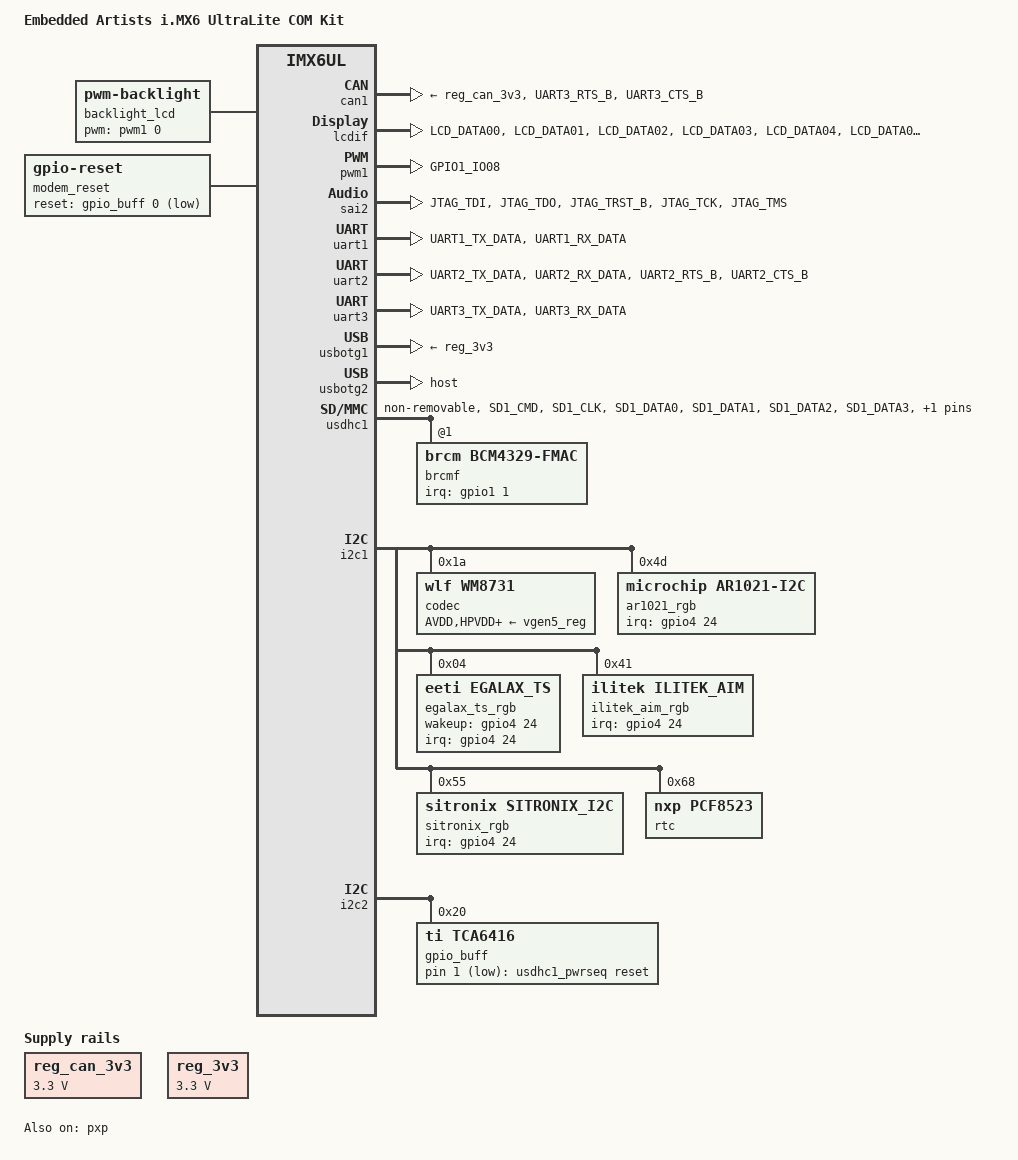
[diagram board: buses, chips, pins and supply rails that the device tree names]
/*
 * Copyright (C) 2015 Freescale Semiconductor, Inc.
 *
 * This program is free software; you can redistribute it and/or modify
 * it under the terms of the GNU General Public License version 2 as
 * published by the Free Software Foundation.
 */
 
/dts-v1/;

#include "imx6ulea-com.dtsi"

/ {
	model = "Embedded Artists i.MX6 UltraLite COM Kit";
	compatible = "fsl,imx6ulea-com", "fsl,imx6ul";

	/* Aliases to allow u-boot to modify the device tree */
	aliases {
		fb_rgb = &lcdif;
		t_rgb = &t_lcd;
		bl_rgb = &backlight_lcd;
		rgb = &display0;
		ts_con_rgb = &i2c1;
	};

	chosen {
		stdout-path = &uart1;
	};

	backlight_lcd: backlight {
		compatible = "pwm-backlight";
		pwms = <&pwm1 0 5000000>;
		brightness-levels = <0 4 8 16 32 64 128 255>;
		default-brightness-level = <6>;
		status = "okay";
	};

	pxp_v4l2 {
		compatible = "fsl,imx6ul-pxp-v4l2", "fsl,imx6sx-pxp-v4l2", "fsl,imx6sl-pxp-v4l2";
		status = "okay";
	};

	modem_reset: modem-reset {		/* Murata -- BT_REG_ON */
		compatible = "gpio-reset";
		reset-gpios = <&gpio_buff 0 GPIO_ACTIVE_LOW>;
		reset-delay-us = <1000>;
		#reset-cells = <0>;
	};

	regulators {
		compatible = "simple-bus";
		#address-cells = <1>;
		#size-cells = <0>;

		reg_can_3v3: regulator@0 {
			compatible = "regulator-fixed";
			reg = <0>;
			regulator-name = "can-3v3";
			regulator-min-microvolt = <3300000>;
			regulator-max-microvolt = <3300000>;
		};

		reg_3v3: regulator@2 {
			compatible = "regulator-fixed";
			reg = <2>;
			regulator-name = "reg-3v3";
			regulator-min-microvolt = <3300000>;
			regulator-max-microvolt = <3300000>;
		};

		usdhc1_pwrseq: usdhc1_pwrseq {			/* add construct for "fmac" to control WL_REG_ON signal */
			compatible = "mmc-pwrseq-simple";
			reset-gpios = <&gpio_buff 1 GPIO_ACTIVE_LOW>; /* WL REG ON */
		};
	};

	sound {
		compatible = "fsl,imx-audio-wm8731";
		model = "wm8731-audio";
		ssi-controller = <&sai2>;
		src-port = <2>;
		ext-port = <3>;
		audio-codec = <&codec>;
		audio-routing = "LOUT", "ROUT", "LLINEIN", "RLINEIN";
		gpr = <&gpr 0x4 20>;
	};
};


&clks {
	assigned-clocks = <&clks IMX6UL_CLK_PLL4_AUDIO_DIV>;
	assigned-clock-rates = <860160000>;
};


&can1 {
	pinctrl-names = "default";
	pinctrl-0 = <&pinctrl_flexcan1>;
	xceiver-supply = <&reg_can_3v3>;
	status = "okay";
};

/* Murata -- disable for UART2 */
&can2 {
	pinctrl-names = "default";
	pinctrl-0 = <&pinctrl_flexcan2>;
	xceiver-supply = <&reg_can_3v3>;
	status = "disabled";
};

&lcdif {
	pinctrl-names = "default";
	pinctrl-0 = <&pinctrl_lcdif_dat
		     &pinctrl_lcdif_ctrl>;
	display = <&display0>;
	status = "okay";

	display0: display {
		bits-per-pixel = <32>;
		bus-width = <24>;

		/* EA 7" display */
		display-timings {
			native-mode = <&t_lcd>;
			t_lcd: t_lcd_default {
				/* values may be changed in bootscript */
				clock-frequency = <33500000>;
				hactive = <800>;
				vactive = <480>;
				hback-porch = <89>;
				hfront-porch = <164>;
				vback-porch = <75>;/*<23>;*/
				vfront-porch = <75>;/*<10>;*/
				hsync-len = <10>;
				vsync-len = <10>;
				hsync-active = <0>;
				vsync-active = <0>;
				de-active = <1>;
				pixelclk-active = <1>;
			};
		};
	};
};

&pwm1 {
	pinctrl-names = "default";
	pinctrl-0 = <&pinctrl_pwm1>;
	status = "okay";
};

&pxp {
	status = "okay";
};

&sai2 {
	pinctrl-names = "default";
	pinctrl-0 = <&pinctrl_sai2>;

	assigned-clocks = <&clks IMX6UL_CLK_SAI2_SEL>,
			  <&clks IMX6UL_CLK_SAI2>;
	assigned-clock-parents = <&clks IMX6UL_CLK_PLL4_AUDIO_DIV>;
	assigned-clock-rates = <0>, <12288000>;

	status = "okay";
};


&uart1 {
	pinctrl-names = "default";
	pinctrl-0 = <&pinctrl_uart1>;
	status = "okay";
};

/* Bluetooth UART */
&uart2 {
	pinctrl-names = "default";
	pinctrl-0 = <&pinctrl_uart2>;
	fsl,uart-has-rtscts;
	resets = <&modem_reset>;
	status = "okay";
};

&uart3 {
	pinctrl-names = "default";
	pinctrl-0 = <&pinctrl_uart3>;
	status = "okay";
};

&usbotg1 {
	vbus-supply = <&reg_3v3>;
	status = "okay";
};

&usbotg2 {
	dr_mode = "host";
	disable-over-current;
	status = "okay";
};


&usdhc1 {
	#address-cells = <1>;
	#size-cells = <0>;
	pinctrl-names = "default", "state_100mhz", "state_200mhz";
	pinctrl-0 = <&pinctrl_usdhc1>;
	pinctrl-1 = <&pinctrl_usdhc1_100mhz>;
	pinctrl-2 = <&pinctrl_usdhc1_200mhz>;
//	cd-gpios = <&gpio1 3 GPIO_ACTIVE_LOW>;
	enable-sdio-wakeup;
	fsl,tuning-start-tap = <20>;	/* Murata: i.MX default tuning-start-tap */
	fsl,tuning-step= <2>;		/* Murata: change default step value from 2 to 4 for 1BB */
	keep-power-in-suspend;
	non-removable;
	cd-broken;
	pm-ignore-notify;
	wifi-host;
	status = "okay";
	no-1-8-v;	/* Murata: enable 1.8V VIO for SD1 by disabling 3.3V-only mode */
	max-frequency = <104000000>; /* slow down UHS SDR104 clock */
	mmc-pwrseq = <&usdhc1_pwrseq>;
	brcmf: bcrmf@1 {
		reg = <1>;
		compatible = "brcm,bcm4329-fmac";
		interrupt-parent = <&gpio1>;
		interrupts = <1 IRQ_TYPE_LEVEL_HIGH>;  /* WL_HOST_WAKE = GPIO1_IO01 active high. Change to IRQ_TYPE_EDGE_RISING for 1BW and SN8000. */
		interrupt-names = "host-wake";
	};
};

&i2c1 {

	codec: wm8731@1a {
		compatible = "wlf,wm8731";
		reg = <0x1a>;
		clocks = <&clks IMX6UL_CLK_SAI2>;

		AVDD-supply = <&vgen5_reg>;
		HPVDD-supply = <&vgen5_reg>;
		DCVDD-supply = <&vgen5_reg>;
		DBVDD-supply = <&vgen5_reg>;

	};

	/* AR1021 touch controller through RGB display interface connector on Carrier Board */
	ar1021_rgb@4d {
		compatible = "microchip,ar1021-i2c";
		reg = <0x4d>;
		pinctrl-names = "default";
		pinctrl-0 = <&pinctrl_rgb_connector>;
		interrupt-parent = <&gpio4>;
		interrupts = <24 IRQ_TYPE_EDGE_FALLING>;
		ar1021,swap_xy;
		ar1021,invert_x;
		#ar1021,invert_y;
	};

	/* eGalax touch controller through RGB display interface connector on Carrier Board */
	egalax_ts_rgb@04 {
		compatible = "eeti,egalax_ts";
		reg = <0x04>;
		pinctrl-names = "default";
		pinctrl-0 = <&pinctrl_rgb_connector>;
		interrupt-parent = <&gpio4>;
		interrupts = <24 IRQ_TYPE_EDGE_FALLING>;
		wakeup-gpios = <&gpio4 24 GPIO_ACTIVE_HIGH>;
	};

	/* FocalTech touch controller through RGB display interface connector on Carrier Board */
	edt-ft5x06_rgb@38 {
		compatible = "edt,edt-ft5x06";
		reg = <0x38>;
		pinctrl-names = "default";
		pinctrl-0 = <&pinctrl_rgb_connector>;
		interrupt-parent = <&gpio4>;
		interrupts = <24 IRQ_TYPE_EDGE_FALLING>;
		status = "disabled";
	};

	/* Ilitek touch controller through RGB display interface connector on Carrier Board */
	ilitek_aim_rgb@41 {
		compatible = "ilitek,ilitek_aim";
		reg = <0x41>;
		pinctrl-names = "default";
		pinctrl-0 = <&pinctrl_rgb_connector>;
		interrupt-parent = <&gpio4>;
		interrupts = <24 IRQ_TYPE_EDGE_FALLING>;
	};

        /* Atmel MXT1664 touch controller through RGB display interface connector on Carrier Board */
        mxt1664_ts_rgb@4b {
                compatible = "atmel,mxt1664_ts";
                reg = <0x4b>;
                pinctrl-names = "default";
                pinctrl-0 = <&pinctrl_rgb_connector>;
                interrupt-parent = <&gpio4>;
                interrupts = <24 IRQ_TYPE_EDGE_FALLING>;
                status = "disabled";
        };

	/* Sitronix touch controller through RGB display interface connector on Carrier Board */
	sitronix_rgb@55 {
		compatible = "sitronix,sitronix_i2c";
		reg = <0x55>;
		pinctrl-names = "default";
		pinctrl-0 = <&pinctrl_rgb_connector>;
		interrupt-parent = <&gpio4>;
		interrupts = <24 IRQ_TYPE_EDGE_FALLING>;
	};
	rtc: pcf8523@68 {
		compatible = "nxp,pcf8523";
		reg = <0x68>;
	};
};

&i2c2 {
	gpio_buff: pca6416@20 {
		compatible = "ti,tca6416";
		reg = <0x20>;
		gpio-controller;
		#gpio-cells = <2>;
		gpio-line-names = "BT_REG_ON", "WL_REG_ON", "",
			"BT_DEV_WAKE", "AUD_MUX_CTRL", "SD_PCIE_MUX_CTRL",
			"VDDIO_VSEL", "PCIE_CLK_MUX_CTRL", "PCIE_SLOT_MUX_CTRL",
			"SD_MUX_CTRL1", "AUD_CODEC_MUX_CTRL1",
			"AUD_CODEC_MUX_CTRL2", "PCIE_PERST_L", "SD_MUX_CTRL2",
			"VBAT_VSEL", "M2-E_WLAN_ENABLE";

		hog_SD_PCIE_MUX_CTRL {
			gpio-hog;
			gpios = <5 0>;
			output-high;
		};
		hog_VDDIO_VSEL {
			gpio-hog;
			gpios = <6 0>;
			output-low;
		};
		hog_SD_MUX_CTRL1 {
			gpio-hog;
			gpios = <9 0>;
			output-high;
		};
		hog_AUD_CODEC_MUX_CTRL1 {
			gpio-hog;
			gpios = <10 0>;
			output-high;
		};
		hog_AUD_CODEC_MUX_CTRL2 {
			gpio-hog;
			gpios = <11 0>;
			output-high;
		};
		hog_VBAT_VSEL {
			gpio-hog;
			gpios = <14 0>;
			output-high;
		};
	};
};

&iomuxc {

	imx6ulea-com-kit {


		pinctrl_flexcan1: flexcan1grp{
			fsl,pins = <
				MX6UL_PAD_UART3_RTS_B__FLEXCAN1_RX	0x1b020
				MX6UL_PAD_UART3_CTS_B__FLEXCAN1_TX	0x1b020
			>;
		};

		pinctrl_flexcan2: flexcan2grp{
			fsl,pins = <
				MX6UL_PAD_UART2_RTS_B__FLEXCAN2_RX	0x1b020
				MX6UL_PAD_UART2_CTS_B__FLEXCAN2_TX	0x1b020
			>;
		};

		pinctrl_lcdif_dat: lcdifdatgrp {
			fsl,pins = <
				MX6UL_PAD_LCD_DATA00__LCDIF_DATA00  0x79
				MX6UL_PAD_LCD_DATA01__LCDIF_DATA01  0x79
				MX6UL_PAD_LCD_DATA02__LCDIF_DATA02  0x79
				MX6UL_PAD_LCD_DATA03__LCDIF_DATA03  0x79
				MX6UL_PAD_LCD_DATA04__LCDIF_DATA04  0x79
				MX6UL_PAD_LCD_DATA05__LCDIF_DATA05  0x79
				MX6UL_PAD_LCD_DATA06__LCDIF_DATA06  0x79
				MX6UL_PAD_LCD_DATA07__LCDIF_DATA07  0x79
				MX6UL_PAD_LCD_DATA08__LCDIF_DATA08  0x79
				MX6UL_PAD_LCD_DATA09__LCDIF_DATA09  0x79
				MX6UL_PAD_LCD_DATA10__LCDIF_DATA10  0x79
				MX6UL_PAD_LCD_DATA11__LCDIF_DATA11  0x79
				MX6UL_PAD_LCD_DATA12__LCDIF_DATA12  0x79
				MX6UL_PAD_LCD_DATA13__LCDIF_DATA13  0x79
				MX6UL_PAD_LCD_DATA14__LCDIF_DATA14  0x79
				MX6UL_PAD_LCD_DATA15__LCDIF_DATA15  0x79
				MX6UL_PAD_LCD_DATA16__LCDIF_DATA16  0x79
				MX6UL_PAD_LCD_DATA17__LCDIF_DATA17  0x79
				MX6UL_PAD_LCD_DATA18__LCDIF_DATA18  0x79
				MX6UL_PAD_LCD_DATA19__LCDIF_DATA19  0x79
				MX6UL_PAD_LCD_DATA20__LCDIF_DATA20  0x79
				MX6UL_PAD_LCD_DATA21__LCDIF_DATA21  0x79
				MX6UL_PAD_LCD_DATA22__LCDIF_DATA22  0x79
				MX6UL_PAD_LCD_DATA23__LCDIF_DATA23  0x79
			>;
		};

		pinctrl_lcdif_ctrl: lcdifctrlgrp {
			fsl,pins = <
				MX6UL_PAD_LCD_CLK__LCDIF_CLK	    0x79
				MX6UL_PAD_LCD_ENABLE__LCDIF_ENABLE  0x79
				MX6UL_PAD_LCD_HSYNC__LCDIF_HSYNC    0x79
				MX6UL_PAD_LCD_VSYNC__LCDIF_VSYNC    0x79
				/* Display power enable */
				MX6UL_PAD_GPIO1_IO02__GPIO1_IO02    0x79
			>;
		};

		pinctrl_pwm1: pwm1grp {
			fsl,pins = <
				MX6UL_PAD_GPIO1_IO08__PWM1_OUT   0x110b0
			>;
		};


		pinctrl_uart1: uart1grp {
			fsl,pins = <
				MX6UL_PAD_UART1_TX_DATA__UART1_DCE_TX 0x1f0b1
				MX6UL_PAD_UART1_RX_DATA__UART1_DCE_RX 0x1f0b1
			>;
		};

		pinctrl_uart2: uart2grp {
			fsl,pins = <
				MX6UL_PAD_UART2_TX_DATA__UART2_DCE_TX	0x1f0b1
				MX6UL_PAD_UART2_RX_DATA__UART2_DCE_RX	0x1b0b1
				MX6UL_PAD_UART2_RTS_B__UART2_DCE_RTS	0x1b0b1
				MX6UL_PAD_UART2_CTS_B__UART2_DCE_CTS	0x1b0b1
			>;
		};

		pinctrl_uart3: uart3grp {
			fsl,pins = <
				MX6UL_PAD_UART3_TX_DATA__UART3_DCE_TX	0x1f0b1
				MX6UL_PAD_UART3_RX_DATA__UART3_DCE_RX	0x1f0b1
			>;
		};


		pinctrl_usdhc1: usdhc1grp {
			fsl,pins = <
				MX6UL_PAD_SD1_CMD__USDHC1_CMD     0x17059
				MX6UL_PAD_SD1_CLK__USDHC1_CLK     0x10071
				MX6UL_PAD_SD1_DATA0__USDHC1_DATA0 0x17059
				MX6UL_PAD_SD1_DATA1__USDHC1_DATA1 0x17059
				MX6UL_PAD_SD1_DATA2__USDHC1_DATA2 0x17059
				MX6UL_PAD_SD1_DATA3__USDHC1_DATA3 0x17059
				MX6UL_PAD_GPIO1_IO01__GPIO1_IO01 0x13041  /* WL_HOST_WAKE */
			>;
		};

		pinctrl_usdhc1_100mhz: usdhc1grp100mhz {
			fsl,pins = <
				MX6UL_PAD_SD1_CMD__USDHC1_CMD     0x170b9
				MX6UL_PAD_SD1_CLK__USDHC1_CLK     0x100b9
				MX6UL_PAD_SD1_DATA0__USDHC1_DATA0 0x170b9
				MX6UL_PAD_SD1_DATA1__USDHC1_DATA1 0x170b9
				MX6UL_PAD_SD1_DATA2__USDHC1_DATA2 0x170b9
				MX6UL_PAD_SD1_DATA3__USDHC1_DATA3 0x170b9
			>;
		};

		pinctrl_usdhc1_200mhz: usdhc1grp200mhz {
			fsl,pins = <
				MX6UL_PAD_SD1_CMD__USDHC1_CMD     0x170f9
				MX6UL_PAD_SD1_CLK__USDHC1_CLK     0x100f9
				MX6UL_PAD_SD1_DATA0__USDHC1_DATA0 0x170f9
				MX6UL_PAD_SD1_DATA1__USDHC1_DATA1 0x170f9
				MX6UL_PAD_SD1_DATA2__USDHC1_DATA2 0x170f9
				MX6UL_PAD_SD1_DATA3__USDHC1_DATA3 0x170f9
			>;
		};


		pinctrl_sai2: sai2grp {
			fsl,pins = <
				MX6UL_PAD_JTAG_TDI__SAI2_TX_BCLK	0x17088
				MX6UL_PAD_JTAG_TDO__SAI2_TX_SYNC	0x17088
				MX6UL_PAD_JTAG_TRST_B__SAI2_TX_DATA	0x11088
				MX6UL_PAD_JTAG_TCK__SAI2_RX_DATA	0x11088
				MX6UL_PAD_JTAG_TMS__SAI2_MCLK		0x17088
			>;
		};

		pinctrl_rgb_connector: rgb_connector_grp {
			fsl,pins = <
				MX6UL_PAD_CSI_DATA03__GPIO4_IO24       0x1b0b0
			>;
		};

	};
};
